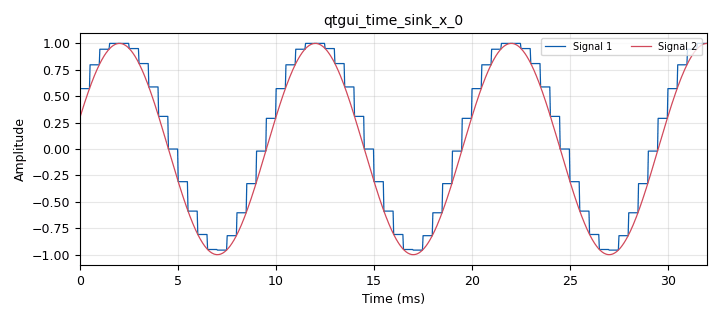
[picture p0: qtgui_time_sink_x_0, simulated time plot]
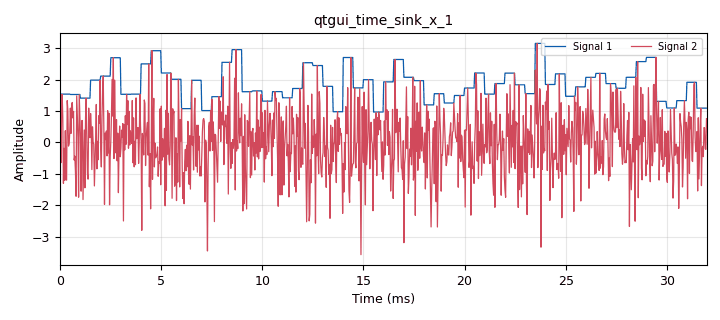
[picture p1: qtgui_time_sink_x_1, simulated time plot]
options:
  parameters:
    generate_options: qt_gui
    id: PythonBlockWithVectorsFlowGraph
    output_language: python
    title: vectorinput
  states: {}

blocks:
- name: samp_rate
  id: variable
  parameters:
    value: '32000'
  states: {}
- name: vectorLength
  id: variable
  parameters:
    value: '16'
  states: {}
- name: analog_noise_source_x_0
  id: analog_noise_source_x
  parameters:
    amp: '1'
    noise_type: analog.GR_GAUSSIAN
    seed: '0'
    type: float
  states: {}
- name: analog_sig_source_x_0
  id: analog_sig_source_x
  parameters:
    amp: '1'
    freq: '100'
    offset: '0'
    phase: '0'
    samp_rate: samp_rate
    type: float
    waveform: analog.GR_COS_WAVE
  states: {}
- name: blocks_stream_to_vector_0
  id: blocks_stream_to_vector
  parameters:
    num_items: vectorLength
    type: float
  states: {}
- name: blocks_stream_to_vector_1
  id: blocks_stream_to_vector
  parameters:
    num_items: vectorLength
    type: float
  states: {}
- name: blocks_throttle_0
  id: blocks_throttle
  parameters:
    samples_per_second: samp_rate
    type: float
  states: {}
- name: blocks_vector_to_stream_0
  id: blocks_vector_to_stream
  parameters:
    num_items: vectorLength
    type: float
  states: {}
- name: blocks_vector_to_stream_1
  id: blocks_vector_to_stream
  parameters:
    num_items: vectorLength
    type: float
  states: {}
- name: epy_block_0
  id: epy_block
  parameters:
    _source_code: |
      """
      Embedded Python Blocks:

      Each time this file is saved, GRC will instantiate the first class it finds
      to get ports and parameters of your block. The arguments to __init__  will
      be the parameters. All of them are required to have default values!
      """

      import numpy as np
      from gnuradio import gr


      class blk(gr.sync_block):  # other base classes are basic_block, decim_block, interp_block
          """Embedded Python Block example - a simple multiply const"""

          def __init__(self, vectorSize=16):  # only default arguments here
              """arguments to this function show up as parameters in GRC"""
              gr.sync_block.__init__(
                  self,
                  name='Max Hold Block',   # will show up in GRC
                  in_sig=[(np.float32,vectorSize),(np.float32,vectorSize)],
                  out_sig=[(np.float32,vectorSize),(np.float32,vectorSize)]
              )
              # if an attribute with the same name as a parameter is found,
              # a callback is registered (properties work, too).
            

          def work(self, input_items, output_items):
          	"""example: multiply with constant"""
          	for portIndex in range(len(input_items)):
          		for vectorIndex in range(len(input_items[portIndex])):
          			maxValue = np.max(input_items[portIndex][vectorIndex])
          			for sampleIndex in range(len(input_items[portIndex][vectorIndex])):
          				output_items[portIndex][vectorIndex][sampleIndex] = maxValue
          				
          	return len(output_items[0])
    vectorSize: '16'
  states: {}
- name: qtgui_time_sink_x_0
  id: qtgui_time_sink_x
  parameters:
    autoscale: 'True'
    nconnections: '2'
    size: '1024'
    srate: samp_rate
    type: float
  states: {}
- name: qtgui_time_sink_x_1
  id: qtgui_time_sink_x
  parameters:
    autoscale: 'True'
    nconnections: '2'
    size: '1024'
    srate: samp_rate
    type: float
  states: {}
- name: virtual_sink_0
  id: virtual_sink
  parameters:
    stream_id: sinusoid
  states: {state: disabled}
- name: virtual_sink_1
  id: virtual_sink
  parameters:
    stream_id: sinusoid
  states: {}
- name: virtual_sink_2
  id: virtual_sink
  parameters:
    stream_id: noise
  states: {}
- name: virtual_source_0
  id: virtual_source
  parameters:
    stream_id: sinusoid
  states: {}
- name: virtual_source_1
  id: virtual_source
  parameters:
    stream_id: noise
  states: {}

connections:
- [analog_noise_source_x_0, '0', blocks_stream_to_vector_1, '0']
- [analog_noise_source_x_0, '0', virtual_sink_2, '0']
- [analog_sig_source_x_0, '0', blocks_throttle_0, '0']
- [analog_sig_source_x_0, '0', virtual_sink_0, '0']
- [analog_sig_source_x_0, '0', virtual_sink_1, '0']
- [blocks_stream_to_vector_0, '0', epy_block_0, '0']
- [blocks_stream_to_vector_1, '0', epy_block_0, '1']
- [blocks_throttle_0, '0', blocks_stream_to_vector_0, '0']
- [blocks_vector_to_stream_0, '0', qtgui_time_sink_x_0, '0']
- [blocks_vector_to_stream_1, '0', qtgui_time_sink_x_1, '0']
- [epy_block_0, '0', blocks_vector_to_stream_0, '0']
- [epy_block_0, '1', blocks_vector_to_stream_1, '0']
- [virtual_source_0, '0', qtgui_time_sink_x_0, '1']
- [virtual_source_1, '0', qtgui_time_sink_x_1, '1']

metadata:
  file_format: 1
